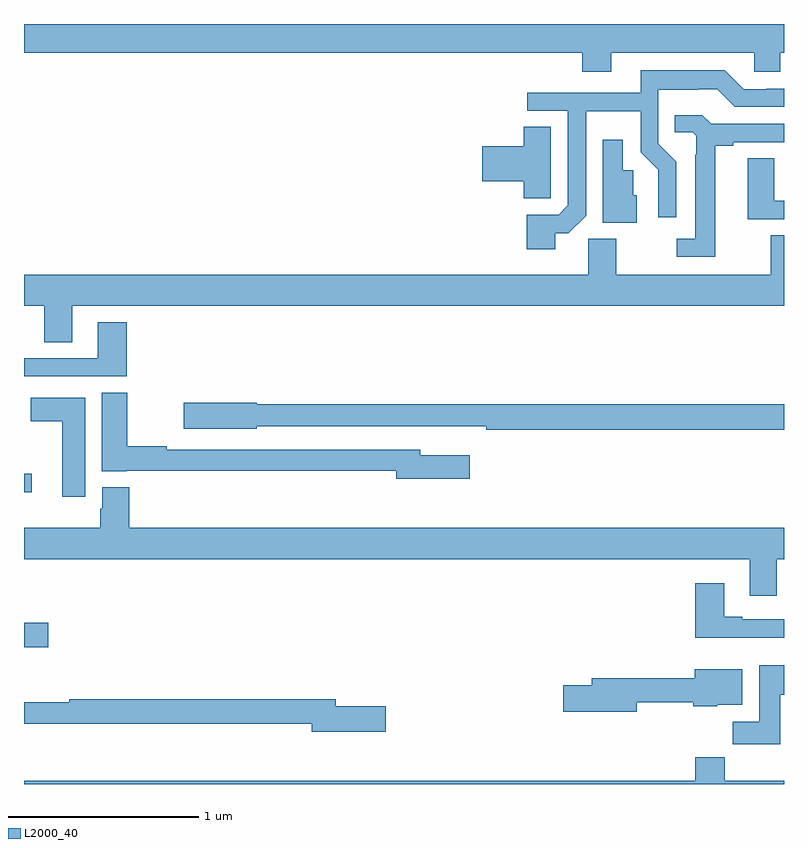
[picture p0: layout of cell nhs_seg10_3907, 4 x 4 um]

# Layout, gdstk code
import gdstk
lib = gdstk.Library(unit=1e-6, precision=1e-09)
def R(c, l, rs):  # rectangles x0, y0, x1, y1
    for r in rs: c.add(gdstk.rectangle(r[:2], r[2:], *l))
def P(c, l, *ps):  # polygons
    for p in ps: c.add(gdstk.Polygon(p, *l))
L2000_40 = (2000, 40)

nhs_seg10_3907 = lib.new_cell('nhs_seg10_3907')
R(nhs_seg10_3907, L2000_40, [(327,1265.219,327.127,1265.349), (327,1266.035,327.04,1266.132)])
P(nhs_seg10_3907, L2000_40, [(330.091,1268.348),(330.843,1268.348),(330.843,1268.25),(330.981,1268.25),(330.981,1268.348),(331,1268.348),(331,1268.5),(327,1268.5),(327,1268.348),(329.939,1268.348),(329.939,1268.249),(330.091,1268.249)],
  [(329.797,1267.399),(329.865,1267.399),(329.958,1267.491),(329.958,1268.042),(330.246,1268.042),(330.246,1267.826),(330.338,1267.734),(330.338,1267.482),(330.432,1267.482),(330.432,1267.776),(330.339,1267.869),(330.339,1268.153),(330.548,1268.153),(330.548,1268.157),(330.648,1268.157),(330.741,1268.064),(331,1268.064),(331,1268.16),(330.906,1268.16),(330.906,1268.157),(330.789,1268.157),(330.689,1268.257),(330.245,1268.257),(330.245,1268.139),(329.649,1268.139),(329.649,1268.043),(329.862,1268.043),(329.862,1267.545),(329.814,1267.497),(329.645,1267.497),(329.645,1267.314),(329.797,1267.314)],
  [(330.637,1267.858),(330.733,1267.858),(330.733,1267.878),(331,1267.878),(331,1267.974),(330.618,1267.974),(330.57,1268.021),(330.424,1268.021),(330.424,1267.929),(330.519,1267.929),(330.537,1267.911),(330.537,1267.811),(330.533,1267.811),(330.533,1267.371),(330.435,1267.371),(330.435,1267.275),(330.637,1267.275)],
  [(329.772,1267.69),(329.773,1267.69),(329.773,1267.958),(329.63,1267.958),(329.63,1267.856),(329.412,1267.856),(329.412,1267.673),(329.63,1267.673),(329.63,1267.582),(329.772,1267.582)],
  [(330.226,1267.599),(330.207,1267.599),(330.207,1267.731),(330.151,1267.731),(330.151,1267.891),(330.047,1267.891),(330.047,1267.454),(330.226,1267.454)],
  [(331,1267.569),(330.948,1267.569),(330.948,1267.793),(330.809,1267.793),(330.809,1267.473),(331,1267.473)],
  [(327.253,1267.016),(331,1267.016),(331,1267.388),(330.929,1267.388),(330.929,1267.18),(330.117,1267.18),(330.117,1267.369),(329.97,1267.369),(329.97,1267.18),(327,1267.18),(327,1267.016),(327.106,1267.016),(327.106,1266.826),(327.253,1266.826)],
  [(327.542,1266.931),(327.389,1266.931),(327.389,1266.741),(327,1266.741),(327,1266.645),(327.542,1266.645)],
  [(329.347,1266.229),(329.086,1266.229),(329.086,1266.258),(327.752,1266.258),(327.752,1266.278),(327.544,1266.278),(327.544,1266.56),(327.41,1266.56),(327.41,1266.146),(327.54,1266.146),(327.54,1266.15),(328.958,1266.15),(328.958,1266.107),(329.347,1266.107)],
  [(327.322,1266.532),(327.035,1266.532),(327.035,1266.41),(327.2,1266.41),(327.2,1266.012),(327.322,1266.012)],
  [(331,1266.5),(328.224,1266.5),(328.224,1266.506),(327.84,1266.506),(327.84,1266.371),(328.224,1266.371),(328.224,1266.384),(329.182,1266.384),(329.182,1266.383),(329.434,1266.383),(329.434,1266.364),(331,1266.364)],
  [(330.961,1265.684),(331,1265.684),(331,1265.848),(327.554,1265.848),(327.554,1266.061),(327.413,1266.061),(327.413,1265.949),(327.401,1265.949),(327.401,1265.848),(327,1265.848),(327,1265.684),(330.821,1265.684),(330.821,1265.49),(330.961,1265.49)],
  [(331,1265.367),(330.781,1265.367),(330.781,1265.38),(330.685,1265.38),(330.685,1265.557),(330.533,1265.557),(330.533,1265.27),(331,1265.27)],
  [(330.979,1264.969),(331,1264.969),(331,1265.125),(330.869,1265.125),(330.869,1264.828),(330.73,1264.828),(330.73,1264.71),(330.979,1264.71)],
  [(330.226,1264.929),(330.523,1264.929),(330.523,1264.91),(330.648,1264.91),(330.648,1264.916),(330.781,1264.916),(330.781,1265.104),(330.53,1265.104),(330.53,1265.057),(329.987,1265.057),(329.987,1265.021),(329.838,1265.021),(329.838,1264.879),(330.226,1264.879)],
  [(328.903,1264.91),(328.642,1264.91),(328.642,1264.946),(327.238,1264.946),(327.238,1264.931),(327,1264.931),(327,1264.818),(328.514,1264.818),(328.514,1264.775),(328.903,1264.775)],
  [(331,1264.516),(330.689,1264.516),(330.689,1264.64),(330.533,1264.64),(330.533,1264.516),(327,1264.516),(327,1264.5),(331,1264.5)])

lib.write_gds('nhs_seg10_3907.gds')
